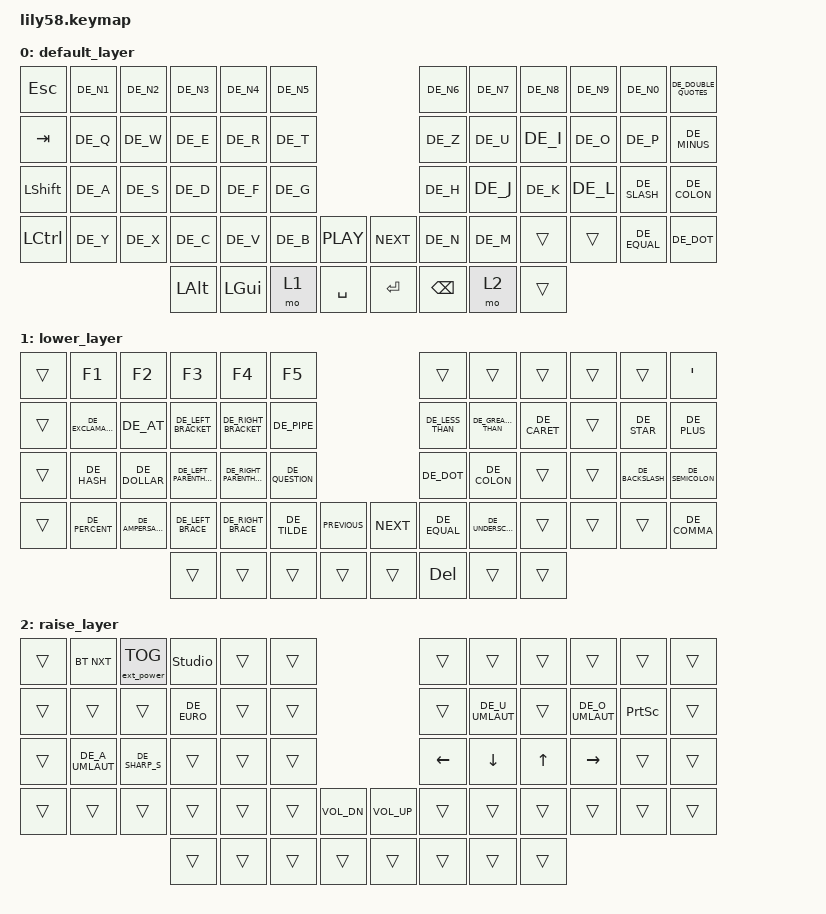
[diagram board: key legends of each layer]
/*
* Copyright (c) 2020 The ZMK Contributors
*
* SPDX-License-Identifier: MIT
*/

#include <locale/keys_de.h>
#include <behaviors.dtsi>
#include <dt-bindings/zmk/bt.h>
#include <dt-bindings/zmk/ext_power.h>
#include <dt-bindings/zmk/keys.h>

/ {
    combos { compatible = "zmk,combos"; };

    keymap {
        compatible = "zmk,keymap";

        default_layer {
            bindings = <
//    ┌──────┬──────┬──────┬──────┬──────┬──────┐                 ┌──────┬──────┬──────┬──────┬──────┬──────┐
//    │ esc  │ DE_1 │ DE_2 │ DE_3 │ DE_4 │ DE_5 │                 │ DE_6 │ DE_7 │ DE_8 │ DE_9 │ DE_0 │ DE_" │
//    ├──────┼──────┼──────┼──────┼──────┼──────┤                 ├──────┼──────┼──────┼──────┼──────┼──────┤
//    │ tab  │ DE_Q │ DE_W │ DE_E │ DE_R │ DE_T │                 │ DE_Z │ DE_U │ DE_I │ DE_O │ DE_P │ DE_- │
//    ├──────┼──────┼──────┼──────┼──────┼──────┤                 ├──────┼──────┼──────┼──────┼──────┼──────┤
//    │ lsft │ DE_A │ DE_S │ DE_D │ DE_F │ DE_G │                 │ DE_H │ DE_J │ DE_K │ DE_L │ DE_/ │ DE_: │
//    ├──────┼──────┼──────┼──────┼──────┼──────┼──────┐   ┌──────┼──────┼──────┼──────┼──────┼──────┼──────┤
//    │ lctl │ DE_Y │ DE_X │ DE_C │ DE_V │ DE_B │ play │   │ next │ DE_N │ DE_M │      │      │ DE_= │ DE_. │
//    └──────┴──────┴──────┼──────┼──────┼──────┼──────┤   ├──────┼──────┼──────┼──────┼──────┴──────┴──────┘
//                         │ lalt │ lgui │ mo 1 │ spc  │   │ ent  │ bspc │ mo 2 │      │
//                         └──────┴──────┴──────┴──────┘   └──────┴──────┴──────┴──────┘
  &kp ESCAPE       &kp DE_N1   &kp DE_N2   &kp DE_N3   &kp DE_N4   &kp DE_N5                                 &kp DE_N6       &kp DE_N7   &kp DE_N8   &kp DE_N9   &kp DE_N0      &kp DE_DOUBLE_QUOTES
  &kp TAB          &kp DE_Q    &kp DE_W    &kp DE_E    &kp DE_R    &kp DE_T                                  &kp DE_Z        &kp DE_U    &kp DE_I    &kp DE_O    &kp DE_P       &kp DE_MINUS
  &kp LEFT_SHIFT   &kp DE_A    &kp DE_S    &kp DE_D    &kp DE_F    &kp DE_G                                  &kp DE_H        &kp DE_J    &kp DE_K    &kp DE_L    &kp DE_SLASH   &kp DE_COLON
  &kp LCTRL        &kp DE_Y    &kp DE_X    &kp DE_C    &kp DE_V    &kp DE_B    &kp C_PLAY       &kp C_NEXT   &kp DE_N        &kp DE_M    &trans      &trans      &kp DE_EQUAL   &kp DE_DOT
                                           &kp LALT    &kp LGUI    &mo 1       &kp SPACE        &kp ENTER    &kp BACKSPACE   &mo 2       &trans
            >;
        };

        lower_layer {
            bindings = <
//    ┌─────┬──────┬──────┬──────┬──────┬──────┐                 ┌──────┬──────┬──────┬─────┬──────┬──────┐
//    │     │  f1  │  f2  │  f3  │  f4  │  f5  │                 │      │      │      │     │      │  '   │
//    ├─────┼──────┼──────┼──────┼──────┼──────┤                 ├──────┼──────┼──────┼─────┼──────┼──────┤
//    │     │ DE_! │ DE_@ │ DE_[ │ DE_] │ DE_| │                 │ DE_< │ DE_> │ DE_^ │     │ DE_* │ DE_+ │
//    ├─────┼──────┼──────┼──────┼──────┼──────┤                 ├──────┼──────┼──────┼─────┼──────┼──────┤
//    │     │ DE_# │ DE_$ │ DE_( │ DE_) │ DE_? │                 │ DE_. │ DE_; │      │     │ DE_\ │ DE_: │
//    ├─────┼──────┼──────┼──────┼──────┼──────┼──────┐   ┌──────┼──────┼──────┼──────┼─────┼──────┼──────┤
//    │     │ DE_% │ DE_& │ DE_{ │ DE_} │ DE_~ │ prev │   │ next │ DE_= │ DE__ │      │     │      │ DE_, │
//    └─────┴──────┴──────┼──────┼──────┼──────┼──────┤   ├──────┼──────┼──────┼──────┼─────┴──────┴──────┘
//                        │      │      │      │      │   │      │ del  │      │      │
//                        └──────┴──────┴──────┴──────┘   └──────┴──────┴──────┴──────┘
  &trans   &kp F1               &kp F2             &kp F3                    &kp F4                     &kp F5                                              &trans             &trans                &trans         &trans   &trans             &kp SQT
  &trans   &kp DE_EXCLAMATION   &kp DE_AT          &kp DE_LEFT_BRACKET       &kp DE_RIGHT_BRACKET       &kp DE_PIPE                                         &kp DE_LESS_THAN   &kp DE_GREATER_THAN   &kp DE_CARET   &trans   &kp DE_STAR        &kp DE_PLUS
  &trans   &kp DE_HASH          &kp DE_DOLLAR      &kp DE_LEFT_PARENTHESIS   &kp DE_RIGHT_PARENTHESIS   &kp DE_QUESTION                                     &kp DE_DOT         &kp DE_COLON      &trans         &trans   &kp DE_BACKSLASH   &kp DE_SEMICOLON
  &trans   &kp DE_PERCENT       &kp DE_AMPERSAND   &kp DE_LEFT_BRACE         &kp DE_RIGHT_BRACE         &kp DE_TILDE      &kp C_PREVIOUS       &kp C_NEXT   &kp DE_EQUAL       &kp DE_UNDERSCORE     &trans         &trans   &trans             &kp DE_COMMA
                                                   &trans                    &trans                     &trans            &trans               &trans       &kp DEL            &trans                &trans
            >;
        };

        raise_layer {
            bindings = <
//    ┌─────┬───────────────┬────────────┬────────────────┬─────┬─────┐                 ┌──────┬───────────────┬─────┬───────────────┬──────┬─────┐
//    │     │    bt_nxt     │ epwr_ tog  │ &studio_unlock │     │     │                 │      │               │     │               │      │     │
//    ├─────┼───────────────┼────────────┼────────────────┼─────┼─────┤                 ├──────┼───────────────┼─────┼───────────────┼──────┼─────┤
//    │     │               │            │    DE_EURO     │     │     │                 │      │ DE_U_UMlaltUT │     │ DE_O_UMlaltUT │ pscr │     │
//    ├─────┼───────────────┼────────────┼────────────────┼─────┼─────┤                 ├──────┼───────────────┼─────┼───────────────┼──────┼─────┤
//    │     │ DE_A_UMlaltUT │ DE_SHARP_S │                │     │     │                 │ left │     down      │ up  │     rght      │      │     │
//    ├─────┼───────────────┼────────────┼────────────────┼─────┼─────┼──────┐   ┌──────┼──────┼───────────────┼─────┼───────────────┼──────┼─────┤
//    │     │               │            │                │     │     │ vold │   │ volu │      │               │     │               │      │     │
//    └─────┴───────────────┴────────────┼────────────────┼─────┼─────┼──────┤   ├──────┼──────┼───────────────┼─────┼───────────────┴──────┴─────┘
//                                       │                │     │     │      │   │      │      │               │     │
//                                       └────────────────┴─────┴─────┴──────┘   └──────┴──────┴───────────────┴─────┘
  &trans   &bt BT_NXT        &ext_power EP_TOG   &studio_unlock   &trans   &trans                                     &trans     &trans            &trans   &trans            &trans            &trans
  &trans   &trans            &trans              &kp DE_EURO      &trans   &trans                                     &trans     &kp DE_U_UMLAUT   &trans   &kp DE_O_UMLAUT   &kp PRINTSCREEN   &trans
  &trans   &kp DE_A_UMLAUT   &kp DE_SHARP_S      &trans           &trans   &trans                                     &kp LEFT   &kp DOWN          &kp UP   &kp RIGHT         &trans            &trans
  &trans   &trans            &trans              &trans           &trans   &trans   &kp C_VOL_DN       &kp C_VOL_UP   &trans     &trans            &trans   &trans            &trans            &trans
                                                 &trans           &trans   &trans   &trans             &trans         &trans     &trans            &trans
            >;
        };
    };
};
